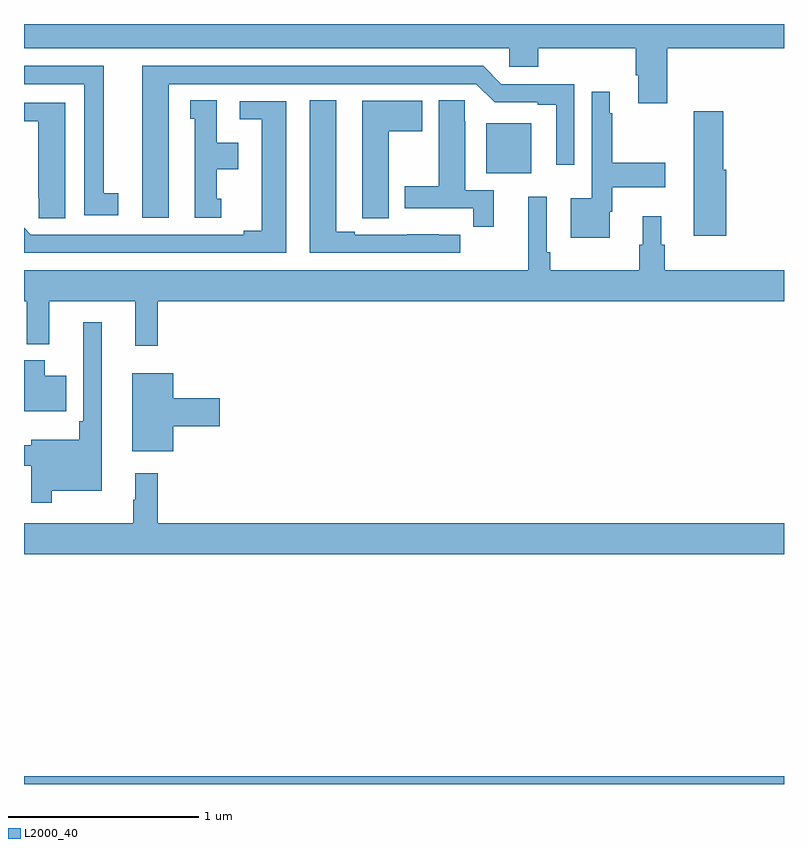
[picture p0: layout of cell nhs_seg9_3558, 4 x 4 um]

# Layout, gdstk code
import gdstk
lib = gdstk.Library(unit=1e-6, precision=1e-09)
def R(c, l, rs):  # rectangles x0, y0, x1, y1
    for r in rs: c.add(gdstk.rectangle(r[:2], r[2:], *l))
def P(c, l, *ps):  # polygons
    for p in ps: c.add(gdstk.Polygon(p, *l))
L2000_40 = (2000, 40)

nhs_seg9_3558 = lib.new_cell('nhs_seg9_3558')
R(nhs_seg9_3558, L2000_40, [(313,1240.5,317,1240.54), (315.434,1243.715,315.67,1243.978)])
P(nhs_seg9_3558, L2000_40, [(316.385,1244.372),(317,1244.372),(317,1244.5),(313,1244.5),(313,1244.372),(315.555,1244.372),(315.555,1244.274),(315.707,1244.274),(315.707,1244.372),(316.22,1244.372),(316.22,1244.23),(316.232,1244.23),(316.232,1244.082),(316.385,1244.082)],
  [(313.762,1244.184),(315.381,1244.184),(315.477,1244.088),(315.704,1244.088),(315.704,1244.076),(315.8,1244.076),(315.8,1243.758),(315.897,1243.758),(315.897,1244.184),(315.513,1244.184),(315.417,1244.28),(313.622,1244.28),(313.622,1243.479),(313.762,1243.479)],
  [(313.495,1243.61),(313.42,1243.61),(313.42,1244.28),(313,1244.28),(313,1244.184),(313.316,1244.184),(313.316,1243.494),(313.495,1243.494)],
  [(316.084,1243.512),(316.096,1243.512),(316.096,1243.64),(316.375,1243.64),(316.375,1243.77),(316.096,1243.77),(316.096,1244.03),(316.084,1244.03),(316.084,1244.143),(315.987,1244.143),(315.987,1243.582),(315.878,1243.582),(315.878,1243.376),(316.084,1243.376)],
  [(315.295,1243.392),(315.182,1243.392),(315.182,1243.393),(315.016,1243.393),(315.016,1243.392),(314.74,1243.392),(314.74,1243.407),(314.644,1243.407),(314.644,1244.099),(314.504,1244.099),(314.504,1243.296),(315.295,1243.296)],
  [(314.038,1243.581),(314.014,1243.581),(314.014,1243.736),(314.128,1243.736),(314.128,1243.876),(314.014,1243.876),(314.014,1244.099),(313.874,1244.099),(313.874,1244.001),(313.898,1244.001),(313.898,1243.479),(314.038,1243.479)],
  [(315.473,1243.626),(315.322,1243.626),(315.322,1243.988),(315.321,1243.988),(315.321,1244.099),(315.182,1244.099),(315.182,1243.647),(315.005,1243.647),(315.005,1243.53),(315.364,1243.53),(315.364,1243.434),(315.473,1243.434)],
  [(314.92,1243.936),(315.097,1243.936),(315.097,1244.095),(314.78,1244.095),(314.78,1243.585),(314.781,1243.585),(314.781,1243.477),(314.92,1243.477)],
  [(314.38,1244.094),(314.136,1244.094),(314.136,1243.998),(314.252,1243.998),(314.252,1243.412),(314.156,1243.412),(314.156,1243.392),(313.035,1243.392),(313,1243.427),(313,1243.296),(314.38,1243.296)],
  [(313.216,1244.085),(313,1244.085),(313,1243.988),(313.076,1243.988),(313.076,1243.585),(313.077,1243.585),(313.077,1243.477),(313.216,1243.477)],
  [(316.697,1243.734),(316.679,1243.734),(316.679,1244.041),(316.525,1244.041),(316.525,1243.858),(316.526,1243.858),(316.526,1243.386),(316.697,1243.386)],
  [(313.703,1243.04),(317,1243.04),(317,1243.204),(316.373,1243.204),(316.373,1243.338),(316.354,1243.338),(316.354,1243.489),(316.256,1243.489),(316.256,1243.338),(316.237,1243.338),(316.237,1243.204),(315.77,1243.204),(315.77,1243.3),(315.75,1243.3),(315.75,1243.591),(315.653,1243.591),(315.653,1243.204),(313,1243.204),(313,1243.04),(313.015,1243.04),(313.015,1242.815),(313.133,1242.815),(313.133,1243.04),(313.586,1243.04),(313.586,1242.807),(313.703,1242.807)],
  [(313.147,1242.044),(313.408,1242.044),(313.408,1242.931),(313.311,1242.931),(313.311,1242.409),(313.291,1242.409),(313.291,1242.313),(313.037,1242.313),(313.037,1242.283),(313,1242.283),(313,1242.174),(313.038,1242.174),(313.038,1241.979),(313.147,1241.979)],
  [(313.222,1242.649),(313.108,1242.649),(313.108,1242.73),(313,1242.73),(313,1242.461),(313.222,1242.461)],
  [(313.786,1242.383),(314.029,1242.383),(314.029,1242.53),(313.786,1242.53),(313.786,1242.661),(313.571,1242.661),(313.571,1242.251),(313.786,1242.251)],
  [(317,1241.872),(313.703,1241.872),(313.703,1242.136),(313.586,1242.136),(313.586,1241.996),(313.575,1241.996),(313.575,1241.872),(313,1241.872),(313,1241.708),(317,1241.708)])

lib.write_gds('nhs_seg9_3558.gds')
